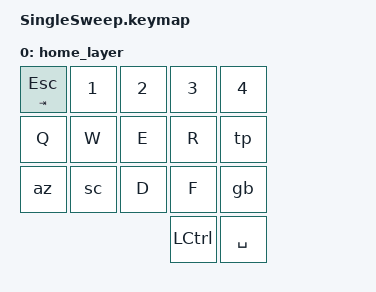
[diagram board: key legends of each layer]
// Copyright (c) 2022 The ZMK Contributors
// SPDX-License-Identifier: MIT

#include <behaviors.dtsi>
#include <dt-bindings/zmk/ext_power.h>
#include <dt-bindings/zmk/outputs.h>
#include <dt-bindings/zmk/keys.h>
#include <dt-bindings/zmk/bt.h>

/{
    behaviors {
        th: tap_hold {
            compatible = "zmk,behavior-hold-tap";
            label = "TAP_HOLD";
            #binding-cells = <2>;
            flavor = "hold-preferred";
            tapping-term-ms = <150>;
            quick-tap-ms = <0>;
            bindings = <&kp>, <&kp>;
        };

        az: a_z {
            compatible = "zmk,behavior-mod-morph";
            label = "A_Z";
            #binding-cells = <0>;
            bindings = <&kp A>, <&kp Z>;
            mods = <(MOD_LCTL)>;
        };

        sc: s_c {
            compatible = "zmk,behavior-mod-morph";
            label = "S_C";
            #binding-cells = <0>;
            bindings = <&kp S>, <&kp C>;
            mods = <(MOD_LCTL)>;
        };

        tp: t_p {
            compatible = "zmk,behavior-mod-morph";
            label = "T_P";
            #binding-cells = <0>;
            bindings = <&kp T>, <&kp P>;
            mods = <(MOD_LCTL)>;
        };

        gb: g_b {
            compatible = "zmk,behavior-mod-morph";
            label = "G_B";
            #binding-cells = <0>;
            bindings = <&kp G>, <&kp B>;
            mods = <(MOD_LCTL)>;
        };
    };

    keymap {
        compatible = "zmk,keymap";

        home_layer {
            bindings = <

            &th TAB ESC &kp N1      &kp N2      &kp N3      &kp N4

            &kp Q       &kp W       &kp E       &kp R       &tp

            &az         &sc         &kp D       &kp F       &gb

                                                &kp LCTRL   &kp SPACE
            >;
        };
    };
};
